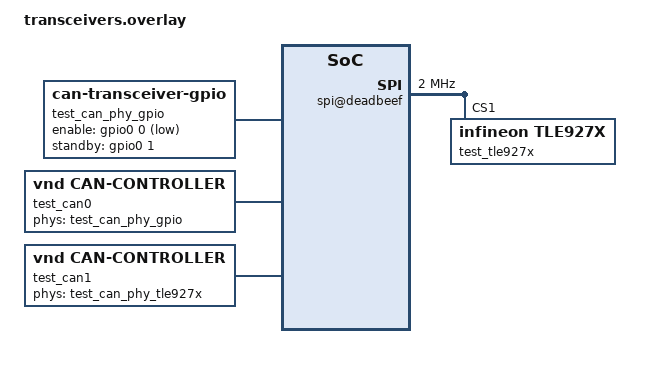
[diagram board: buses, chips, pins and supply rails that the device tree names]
/*
 * SPDX-FileCopyrightText: Copyright (c) 2026 Henrik Brix Andersen <henrik@brixandersen.dk>
 *
 * SPDX-License-Identifier: Apache-2.0
 */

#include <zephyr/dt-bindings/gpio/gpio.h>

/ {
	test_can_phy_gpio: test_can-phy-gpio {
		compatible = "can-transceiver-gpio";
		enable-gpios = <&gpio0 0 GPIO_ACTIVE_LOW>;
		standby-gpios = <&gpio0 1 GPIO_ACTIVE_HIGH>;
		#phy-cells = <0>;
		max-bitrate = <8000000>;
	};

	test_can0 {
		compatible = "vnd,can-controller";
		phys = <&test_can_phy_gpio>;
	};

	test_can1 {
		compatible = "vnd,can-controller";
		phys = <&test_can_phy_tle927x>;
	};

	spi@deadbeef {
		compatible = "vnd,spi";
		reg = <0xdeadbeef 0x1000>;
		#address-cells = <1>;
		#size-cells = <0>;
		clock-frequency = <2000000>;
		cs-gpios = <&gpio0 0 0>;

		test_tle927x@1 {
			compatible = "infineon,tle927x";
			reg = <0x1>;
			spi-max-frequency = <0>;

			test_can_phy_tle927x: test-can-phy-tle927x {
				compatible = "infineon,tle927x-can";
				max-bitrate = <5000000>;
				#phy-cells = <0>;
			};
		};
	};
};
